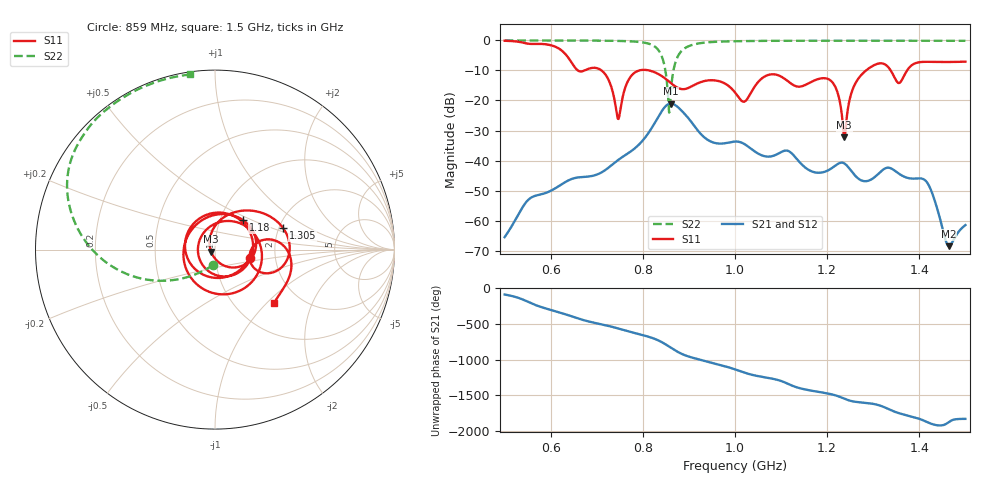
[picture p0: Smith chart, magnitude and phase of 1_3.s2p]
! TOUCHSTONE file generated by CST MICROWAVE STUDIO
! Date and time: Fri Dec 11 13:52:16 2020
! Project name: Scenario_1_Planar_Body_Tissue_Out_of_Line_v2.cst
! Parameters = {dy1=-346; L_HA=400; Ltissue=700; MT=2.54; Rad_Dielectric=30; Rad_Lower=7.3; Rad_Upper=30; Wtissue=700; a_HA=580; a_WG=246; b_HA=500; b_WG=121; c_HA=0; c_WG=187; d_feed=85; dx1=520; h_feed=15; h_lower=18; h_upper=40; hfat=3; hgap=25; hmuscle=50; hskin=1.5}
! Header version: 2018
! Port assignment regex: !\s*Touchstone port\s*([0-9]+)\s*=\s*(CST MWS port|CST DS port)\s*([0-9]+|Zmin|Zmax)\s*\(\"(.*)\"\)(\s*mode\s*([0-9]+))?.*
! Touchstone port assignment:
! Touchstone port 1 = CST MWS port 1 ("")
! Touchstone port 2 = CST MWS port 2 ("")
# GHz S DB R 50
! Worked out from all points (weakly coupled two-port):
!   1003 points, 500 MHz to 1.5 GHz, reference 50 ohm
!   highest |S21| = -21.03 dB at 861 MHz (marker M1); lowest = -68.5 dB at 1.464 GHz (marker M2)
!   lowest |S11| = -32.3 dB at 1.237 GHz (marker M3), VSWR 1.05, Z = 47.9 - j1.18 ohm
!   |S11| at or under -10 dB: 710.3 MHz to 792.1 MHz (81.76 MHz wide, 10.9 % of centre); 813.6 MHz to 1.284 GHz (470.8 MHz wide, 44.9 % of centre); 1.338 GHz to 1.373 GHz (35.56 MHz wide, 2.62 % of centre) (the widest 3 of 4)
!   |S22| runs from -24.0 to 0.0 dB; largest |S21 - S12| = 2.2e-05
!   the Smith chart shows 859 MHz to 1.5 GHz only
!   S11 on the Smith chart (normalised r, x): 859 MHz: 1.47, -0.15; 1.18 GHz: 1.29, +0.44; 1.305 GHz: 2.10, +0.60; 1.5 GHz: 1.48, -1.10
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0.5  -0.11 -121.9  -65.50 -86.2  -65.50 -86.2  -0.01 151.2
0.596  -1.45 -173.8  -50.37 66.1  -50.37 66.1  -0.02 144.4
0.667  -10.31 155.0  -45.51 -77.1  -45.51 -77.1  -0.04 138.4
0.716  -10.82 110.4  -43.42 -152.7  -43.42 -152.7  -0.09 132.8
0.747  -26.15 -36.6  -39.75 156.4  -39.75 156.4  -0.16 128.0
0.778  -11.28 179.5  -36.49 101.1  -36.49 101.1  -0.34 120.9
0.834  -11.22 55.3  -25.34 -11.0  -25.34 -11.0  -3.27 83.0
0.859  -13.98 -13.9  -21.04 -105.8  -21.05 -105.8  -21.24 -97.2
0.861  -14.23 -20.2  -21.03 -114.1  -21.03 -114.1  -16.67 -122.1
0.889  -16.23 -126.6  -24.18 147.9  -24.18 147.9  -2.83 176.4
0.93  -13.66 84.2  -31.81 68.3  -31.81 68.3  -0.80 154.5
1  -17.34 -94.6  -33.68 -56.3  -33.68 -56.3  -0.27 140.2
1.167  -13.71 73.2  -43.64 3.1  -43.64 3.1  -0.10 124.2
1.18  -12.89 46.2  -44.06 -11.3  -44.06 -11.3  -0.09 123.2
1.216  -14.97 -29.5  -41.88 -57.5  -41.88 -57.5  -0.09 120.4
1.237  -32.26 -149.8  -40.94 -108.0  -40.94 -108.0  -0.09 118.9
1.26  -14.66 75.2  -44.92 -150.4  -44.92 -150.4  -0.08 117.1
1.305  -8.02 17.8  -45.28 172.4  -45.28 172.4  -0.08 113.7
1.334  -9.15 -21.3  -42.39 103.2  -42.39 103.2  -0.09 111.5
1.416  -7.11 -20.2  -47.13 -73.5  -47.13 -73.5  -0.10 105.1
1.464  -7.18 -35.5  -68.51 -75.5  -68.52 -75.4  -0.11 101.1
1.5  -7.06 -42.6  -61.48 -31.6  -61.48 -31.6  -0.13 98.0
